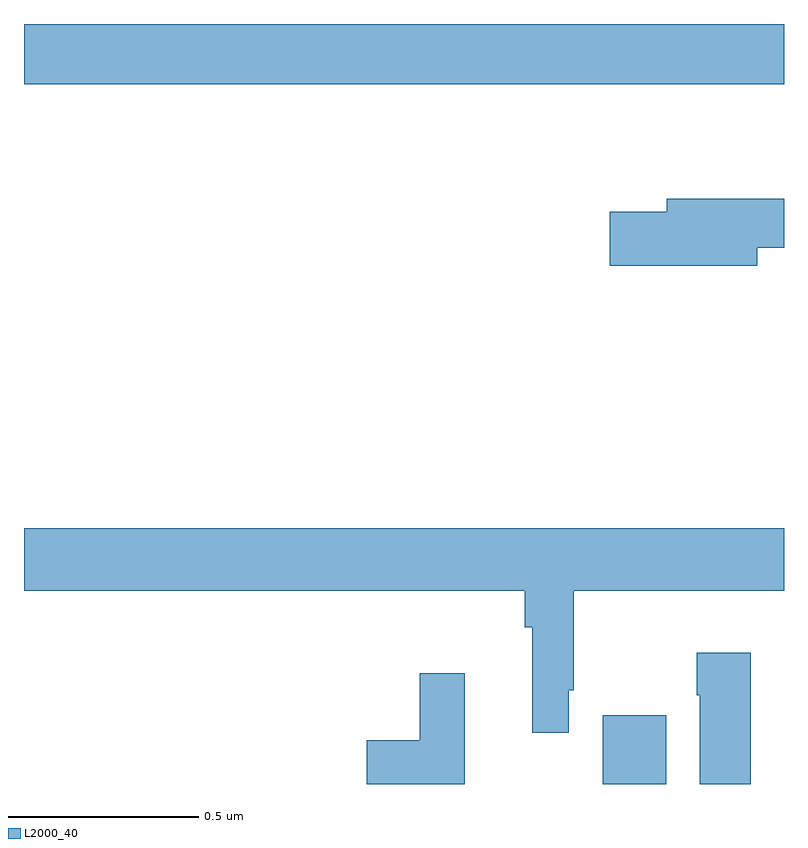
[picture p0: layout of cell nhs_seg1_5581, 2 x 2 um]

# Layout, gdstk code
import gdstk
lib = gdstk.Library(unit=1e-6, precision=1e-09)
def R(c, l, rs):  # rectangles x0, y0, x1, y1
    for r in rs: c.add(gdstk.rectangle(r[:2], r[2:], *l))
def P(c, l, *ps):  # polygons
    for p in ps: c.add(gdstk.Polygon(p, *l))
L2000_40 = (2000, 40)

nhs_seg1_5581 = lib.new_cell('nhs_seg1_5581')
R(nhs_seg1_5581, L2000_40, [(181.523,575.199,181.69,575.38), (180,577.04,182,577.199)])
P(nhs_seg1_5581, L2000_40, [(181.93,576.61),(182,576.61),(182,576.739),(181.691,576.739),(181.691,576.705),(181.542,576.705),(181.542,576.563),(181.93,576.563)],
  [(181.434,575.446),(181.447,575.446),(181.447,575.708),(182,575.708),(182,575.872),(180,575.872),(180,575.708),(181.318,575.708),(181.318,575.612),(181.337,575.612),(181.337,575.334),(181.434,575.334)],
  [(181.912,575.545),(181.771,575.545),(181.771,575.432),(181.778,575.432),(181.778,575.199),(181.912,575.199)],
  [(181.16,575.491),(181.042,575.491),(181.042,575.314),(180.902,575.314),(180.902,575.199),(181.16,575.199)])

lib.write_gds('nhs_seg1_5581.gds')
